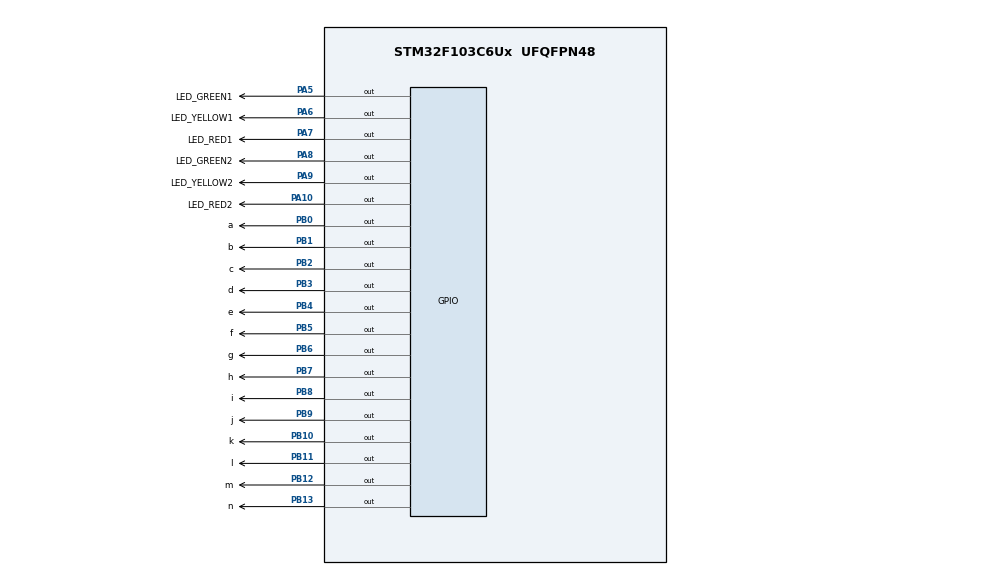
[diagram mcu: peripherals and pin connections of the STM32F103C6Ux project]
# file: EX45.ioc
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Mcu.Family=STM32F1
Mcu.Name=STM32F103C6Ux
Mcu.Package=UFQFPN48
NVIC.PriorityGroup=NVIC_PRIORITYGROUP_4
PA10.GPIO_Label=LED_RED2
PA10.Signal=GPIO_Output
PA5.GPIO_Label=LED_GREEN1
PA5.Signal=GPIO_Output
PA6.GPIO_Label=LED_YELLOW1
PA6.Signal=GPIO_Output
PA7.GPIO_Label=LED_RED1
PA7.Signal=GPIO_Output
PA8.GPIO_Label=LED_GREEN2
PA8.Signal=GPIO_Output
PA9.GPIO_Label=LED_YELLOW2
PA9.Signal=GPIO_Output
PB0.GPIO_Label=a
PB0.Signal=GPIO_Output
PB1.GPIO_Label=b
PB1.Signal=GPIO_Output
PB10.GPIO_Label=k
PB10.Signal=GPIO_Output
PB11.GPIO_Label=l
PB11.Signal=GPIO_Output
PB12.GPIO_Label=m
PB12.Signal=GPIO_Output
PB13.GPIO_Label=n
PB13.Signal=GPIO_Output
PB2.GPIO_Label=c
PB2.Signal=GPIO_Output
PB3.GPIO_Label=d
PB3.Signal=GPIO_Output
PB4.GPIO_Label=e
PB4.Signal=GPIO_Output
PB5.GPIO_Label=f
PB5.Signal=GPIO_Output
PB6.GPIO_Label=g
PB6.Signal=GPIO_Output
PB7.GPIO_Label=h
PB7.Signal=GPIO_Output
PB8.GPIO_Label=i
PB8.Signal=GPIO_Output
PB9.GPIO_Label=j
PB9.Signal=GPIO_Output
ProjectManager.HeapSize=0x200
ProjectManager.StackSize=0x400
ProjectManager.TargetToolchain=STM32CubeIDE
RCC.APB1Freq_Value=8000000
RCC.APB2Freq_Value=8000000
VP_SYS_VS_ND.Mode=No_Debug
board=custom

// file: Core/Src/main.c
/* USER CODE BEGIN Header */
/**
  ******************************************************************************
  * @file           : main.c
  * @brief          : Main program body
  ******************************************************************************
  * @attention
  *
  * <h2><center>&copy; Copyright (c) 2025 STMicroelectronics.
  * All rights reserved.</center></h2>
  *
  * This software component is licensed by ST under BSD 3-Clause license,
  * the "License"; You may not use this file except in compliance with the
  * License. You may obtain a copy of the License at:
  *                        opensource.org/licenses/BSD-3-Clause
  *
  ******************************************************************************
  */
/* USER CODE END Header */
#include "main.h"

void SystemClock_Config(void);
static void MX_GPIO_Init(void);

/* USER CODE BEGIN 0 */
void display7SEG(int num);
void display7SEG2(int num);
/* USER CODE END 0 */

int main(void)
{

  /* MCU Configuration--------------------------------------------------------*/

  /* Reset of all peripherals, Initializes the Flash interface and the Systick. */
  HAL_Init();

  /* Configure the system clock */
  SystemClock_Config();

  /* Initialize all configured peripherals */
  MX_GPIO_Init();
  /* USER CODE BEGIN 2 */
  int counter = 0;
  int counter2 = 0;
  /* USER CODE END 2 */

  /* Infinite loop */
  while (1)
  {
	  HAL_GPIO_WritePin ( LED_GREEN1_GPIO_Port , LED_GREEN1_Pin , GPIO_PIN_RESET ) ;
	  	  HAL_GPIO_WritePin ( LED_RED1_GPIO_Port , LED_RED1_Pin , GPIO_PIN_SET ) ;
	  	  HAL_GPIO_WritePin ( LED_YELLOW1_GPIO_Port , LED_YELLOW1_Pin , GPIO_PIN_SET ) ;
	  	  HAL_GPIO_WritePin ( LED_GREEN2_GPIO_Port , LED_GREEN2_Pin , GPIO_PIN_SET ) ;
	  	  HAL_GPIO_WritePin ( LED_RED2_GPIO_Port , LED_RED2_Pin , GPIO_PIN_RESET ) ;
	  	  HAL_GPIO_WritePin ( LED_YELLOW2_GPIO_Port , LED_YELLOW2_Pin , GPIO_PIN_SET ) ;
	  	  counter = 5;
	  	  counter2 = 9;
	  	  while (counter >= 0){
	  		  display7SEG( counter --) ;
	  		  display7SEG2( counter2 --) ;
	  		  HAL_Delay (1000) ;
	  	  }
	  	  HAL_GPIO_WritePin ( LED_GREEN1_GPIO_Port , LED_GREEN1_Pin , GPIO_PIN_SET ) ;
	  	  HAL_GPIO_WritePin ( LED_RED1_GPIO_Port , LED_RED1_Pin , GPIO_PIN_SET ) ;
	  	  HAL_GPIO_WritePin ( LED_YELLOW1_GPIO_Port , LED_YELLOW1_Pin , GPIO_PIN_RESET ) ;
	  	  HAL_GPIO_WritePin ( LED_GREEN2_GPIO_Port , LED_GREEN2_Pin , GPIO_PIN_SET ) ;
	  	  HAL_GPIO_WritePin ( LED_RED2_GPIO_Port , LED_RED2_Pin , GPIO_PIN_RESET ) ;
	  	  HAL_GPIO_WritePin ( LED_YELLOW2_GPIO_Port , LED_YELLOW2_Pin , GPIO_PIN_SET ) ;
	  	  counter = 3;
	  	  while (counter >= 0){
	  		  display7SEG( counter --) ;
	  		  display7SEG2( counter2 --) ;
	  		  HAL_Delay (1000) ;
	  	  }
	  	  HAL_GPIO_WritePin ( LED_GREEN1_GPIO_Port , LED_GREEN1_Pin , GPIO_PIN_SET ) ;
	  	  HAL_GPIO_WritePin ( LED_RED1_GPIO_Port , LED_RED1_Pin , GPIO_PIN_RESET ) ;
	  	  HAL_GPIO_WritePin ( LED_YELLOW1_GPIO_Port , LED_YELLOW1_Pin , GPIO_PIN_SET ) ;
	  	  HAL_GPIO_WritePin ( LED_GREEN2_GPIO_Port , LED_GREEN2_Pin , GPIO_PIN_RESET ) ;
	  	  HAL_GPIO_WritePin ( LED_RED2_GPIO_Port , LED_RED2_Pin , GPIO_PIN_SET ) ;
	  	  HAL_GPIO_WritePin ( LED_YELLOW2_GPIO_Port , LED_YELLOW2_Pin , GPIO_PIN_SET ) ;
	  	  counter = 9;
	  	  counter2 = 5;
	  	  while (counter2 >= 0){
	  		  display7SEG( counter --) ;
	  		  display7SEG2( counter2 --) ;
	  		  HAL_Delay (1000) ;
	  	  }
	  	  HAL_GPIO_WritePin ( LED_GREEN1_GPIO_Port , LED_GREEN1_Pin , GPIO_PIN_SET ) ;
	  	  HAL_GPIO_WritePin ( LED_RED1_GPIO_Port , LED_RED1_Pin , GPIO_PIN_RESET ) ;
	  	  HAL_GPIO_WritePin ( LED_YELLOW1_GPIO_Port , LED_YELLOW1_Pin , GPIO_PIN_SET ) ;
	  	  HAL_GPIO_WritePin ( LED_GREEN2_GPIO_Port , LED_GREEN2_Pin , GPIO_PIN_SET ) ;
	  	  HAL_GPIO_WritePin ( LED_RED2_GPIO_Port , LED_RED2_Pin , GPIO_PIN_SET ) ;
	  	  HAL_GPIO_WritePin ( LED_YELLOW2_GPIO_Port , LED_YELLOW2_Pin , GPIO_PIN_RESET ) ;
	  	  counter2 = 3;
	  	  while (counter >= 0){
	  		  display7SEG( counter --) ;
	  		  display7SEG2( counter2 --) ;
	  		  HAL_Delay (1000) ;
	  	  }
  }
}

void SystemClock_Config(void)
{
  RCC_OscInitTypeDef RCC_OscInitStruct = {0};
  RCC_ClkInitTypeDef RCC_ClkInitStruct = {0};

  /** Initializes the RCC Oscillators according to the specified parameters
  * in the RCC_OscInitTypeDef structure.
  */
  RCC_OscInitStruct.OscillatorType = RCC_OSCILLATORTYPE_HSI;
  RCC_OscInitStruct.HSIState = RCC_HSI_ON;
  RCC_OscInitStruct.HSICalibrationValue = RCC_HSICALIBRATION_DEFAULT;
  RCC_OscInitStruct.PLL.PLLState = RCC_PLL_NONE;
  if (HAL_RCC_OscConfig(&RCC_OscInitStruct) != HAL_OK)
  {
    Error_Handler();
  }
  /** Initializes the CPU, AHB and APB buses clocks
  */
  RCC_ClkInitStruct.ClockType = RCC_CLOCKTYPE_HCLK|RCC_CLOCKTYPE_SYSCLK
                              |RCC_CLOCKTYPE_PCLK1|RCC_CLOCKTYPE_PCLK2;
  RCC_ClkInitStruct.SYSCLKSource = RCC_SYSCLKSOURCE_HSI;
  RCC_ClkInitStruct.AHBCLKDivider = RCC_SYSCLK_DIV1;
  RCC_ClkInitStruct.APB1CLKDivider = RCC_HCLK_DIV1;
  RCC_ClkInitStruct.APB2CLKDivider = RCC_HCLK_DIV1;

  if (HAL_RCC_ClockConfig(&RCC_ClkInitStruct, FLASH_LATENCY_0) != HAL_OK)
  {
    Error_Handler();
  }
}

static void MX_GPIO_Init(void)
{
  GPIO_InitTypeDef GPIO_InitStruct = {0};

  /* GPIO Ports Clock Enable */
  __HAL_RCC_GPIOA_CLK_ENABLE();
  __HAL_RCC_GPIOB_CLK_ENABLE();

  /*Configure GPIO pin Output Level */
  HAL_GPIO_WritePin(GPIOA, LED_GREEN1_Pin|LED_YELLOW1_Pin|LED_RED1_Pin|LED_GREEN2_Pin
                          |LED_YELLOW2_Pin|LED_RED2_Pin, GPIO_PIN_RESET);

  /*Configure GPIO pin Output Level */
  HAL_GPIO_WritePin(GPIOB, a_Pin|b_Pin|c_Pin|k_Pin
                          |l_Pin|m_Pin|n_Pin|d_Pin
                          |e_Pin|f_Pin|g_Pin|h_Pin
                          |i_Pin|j_Pin, GPIO_PIN_RESET);

  /*Configure GPIO pins : LED_GREEN1_Pin LED_YELLOW1_Pin LED_RED1_Pin LED_GREEN2_Pin
                           LED_YELLOW2_Pin LED_RED2_Pin */
  GPIO_InitStruct.Pin = LED_GREEN1_Pin|LED_YELLOW1_Pin|LED_RED1_Pin|LED_GREEN2_Pin
                          |LED_YELLOW2_Pin|LED_RED2_Pin;
  GPIO_InitStruct.Mode = GPIO_MODE_OUTPUT_PP;
  GPIO_InitStruct.Pull = GPIO_NOPULL;
  GPIO_InitStruct.Speed = GPIO_SPEED_FREQ_LOW;
  HAL_GPIO_Init(GPIOA, &GPIO_InitStruct);

  /*Configure GPIO pins : a_Pin b_Pin c_Pin k_Pin
                           l_Pin m_Pin n_Pin d_Pin
                           e_Pin f_Pin g_Pin h_Pin
                           i_Pin j_Pin */
  GPIO_InitStruct.Pin = a_Pin|b_Pin|c_Pin|k_Pin
                          |l_Pin|m_Pin|n_Pin|d_Pin
                          |e_Pin|f_Pin|g_Pin|h_Pin
                          |i_Pin|j_Pin;
  GPIO_InitStruct.Mode = GPIO_MODE_OUTPUT_PP;
  GPIO_InitStruct.Pull = GPIO_NOPULL;
  GPIO_InitStruct.Speed = GPIO_SPEED_FREQ_LOW;
  HAL_GPIO_Init(GPIOB, &GPIO_InitStruct);

}

/* USER CODE BEGIN 4 */
void display7SEG(int num){
	switch(num){
		case 0:
		  HAL_GPIO_WritePin ( a_GPIO_Port , a_Pin , GPIO_PIN_RESET ) ;
		  HAL_GPIO_WritePin ( b_GPIO_Port , b_Pin , GPIO_PIN_RESET ) ;
		  HAL_GPIO_WritePin ( c_GPIO_Port , c_Pin , GPIO_PIN_RESET ) ;
		  HAL_GPIO_WritePin ( d_GPIO_Port , d_Pin , GPIO_PIN_RESET ) ;
		  HAL_GPIO_WritePin ( e_GPIO_Port , e_Pin , GPIO_PIN_RESET ) ;
		  HAL_GPIO_WritePin ( f_GPIO_Port , f_Pin , GPIO_PIN_RESET ) ;
		  HAL_GPIO_WritePin ( g_GPIO_Port , g_Pin , GPIO_PIN_SET ) ;
		  break;
		case 1:
		  HAL_GPIO_WritePin ( a_GPIO_Port , a_Pin , GPIO_PIN_SET ) ;
		  HAL_GPIO_WritePin ( b_GPIO_Port , b_Pin , GPIO_PIN_RESET ) ;
		  HAL_GPIO_WritePin ( c_GPIO_Port , c_Pin , GPIO_PIN_RESET ) ;
		  HAL_GPIO_WritePin ( d_GPIO_Port , d_Pin , GPIO_PIN_SET ) ;
		  HAL_GPIO_WritePin ( e_GPIO_Port , e_Pin , GPIO_PIN_SET ) ;
		  HAL_GPIO_WritePin ( f_GPIO_Port , f_Pin , GPIO_PIN_SET ) ;
		  HAL_GPIO_WritePin ( g_GPIO_Port , g_Pin , GPIO_PIN_SET ) ;
		  break;
		case 2:
		  HAL_GPIO_WritePin ( a_GPIO_Port , a_Pin , GPIO_PIN_RESET ) ;
		  HAL_GPIO_WritePin ( b_GPIO_Port , b_Pin , GPIO_PIN_RESET ) ;
		  HAL_GPIO_WritePin ( c_GPIO_Port , c_Pin , GPIO_PIN_SET ) ;
		  HAL_GPIO_WritePin ( d_GPIO_Port , d_Pin , GPIO_PIN_RESET ) ;
		  HAL_GPIO_WritePin ( e_GPIO_Port , e_Pin , GPIO_PIN_RESET ) ;
		  HAL_GPIO_WritePin ( f_GPIO_Port , f_Pin , GPIO_PIN_SET ) ;
		  HAL_GPIO_WritePin ( g_GPIO_Port , g_Pin , GPIO_PIN_RESET ) ;
		  break;
		case 3:
		  HAL_GPIO_WritePin ( a_GPIO_Port , a_Pin , GPIO_PIN_RESET ) ;
		  HAL_GPIO_WritePin ( b_GPIO_Port , b_Pin , GPIO_PIN_RESET ) ;
		  HAL_GPIO_WritePin ( c_GPIO_Port , c_Pin , GPIO_PIN_RESET ) ;
		  HAL_GPIO_WritePin ( d_GPIO_Port , d_Pin , GPIO_PIN_RESET ) ;
		  HAL_GPIO_WritePin ( e_GPIO_Port , e_Pin , GPIO_PIN_SET ) ;
		  HAL_GPIO_WritePin ( f_GPIO_Port , f_Pin , GPIO_PIN_SET ) ;
		  HAL_GPIO_WritePin ( g_GPIO_Port , g_Pin , GPIO_PIN_RESET ) ;
		  break;
		case 4:
		  HAL_GPIO_WritePin ( a_GPIO_Port , a_Pin , GPIO_PIN_SET ) ;
		  HAL_GPIO_WritePin ( b_GPIO_Port , b_Pin , GPIO_PIN_RESET ) ;
		  HAL_GPIO_WritePin ( c_GPIO_Port , c_Pin , GPIO_PIN_RESET ) ;
		  HAL_GPIO_WritePin ( d_GPIO_Port , d_Pin , GPIO_PIN_SET ) ;
		  HAL_GPIO_WritePin ( e_GPIO_Port , e_Pin , GPIO_PIN_SET ) ;
		  HAL_GPIO_WritePin ( f_GPIO_Port , f_Pin , GPIO_PIN_RESET ) ;
		  HAL_GPIO_WritePin ( g_GPIO_Port , g_Pin , GPIO_PIN_RESET ) ;
		  break;
		case 5:
		  HAL_GPIO_WritePin ( a_GPIO_Port , a_Pin , GPIO_PIN_RESET ) ;
		  HAL_GPIO_WritePin ( b_GPIO_Port , b_Pin , GPIO_PIN_SET ) ;
		  HAL_GPIO_WritePin ( c_GPIO_Port , c_Pin , GPIO_PIN_RESET ) ;
		  HAL_GPIO_WritePin ( d_GPIO_Port , d_Pin , GPIO_PIN_RESET ) ;
		  HAL_GPIO_WritePin ( e_GPIO_Port , e_Pin , GPIO_PIN_SET ) ;
		  HAL_GPIO_WritePin ( f_GPIO_Port , f_Pin , GPIO_PIN_RESET ) ;
		  HAL_GPIO_WritePin ( g_GPIO_Port , g_Pin , GPIO_PIN_RESET ) ;
		  break;
		case 6:
		  HAL_GPIO_WritePin ( a_GPIO_Port , a_Pin , GPIO_PIN_RESET ) ;
		  HAL_GPIO_WritePin ( b_GPIO_Port , b_Pin , GPIO_PIN_SET ) ;
		  HAL_GPIO_WritePin ( c_GPIO_Port , c_Pin , GPIO_PIN_RESET ) ;
		  HAL_GPIO_WritePin ( d_GPIO_Port , d_Pin , GPIO_PIN_RESET ) ;
		  HAL_GPIO_WritePin ( e_GPIO_Port , e_Pin , GPIO_PIN_RESET ) ;
		  HAL_GPIO_WritePin ( f_GPIO_Port , f_Pin , GPIO_PIN_RESET ) ;
		  HAL_GPIO_WritePin ( g_GPIO_Port , g_Pin , GPIO_PIN_RESET ) ;
		  break;
		case 7:
		  HAL_GPIO_WritePin ( a_GPIO_Port , a_Pin , GPIO_PIN_RESET ) ;
		  HAL_GPIO_WritePin ( b_GPIO_Port , b_Pin , GPIO_PIN_RESET ) ;
		  HAL_GPIO_WritePin ( c_GPIO_Port , c_Pin , GPIO_PIN_RESET ) ;
		  HAL_GPIO_WritePin ( d_GPIO_Port , d_Pin , GPIO_PIN_SET ) ;
		  HAL_GPIO_WritePin ( e_GPIO_Port , e_Pin , GPIO_PIN_SET ) ;
		  HAL_GPIO_WritePin ( f_GPIO_Port , f_Pin , GPIO_PIN_SET ) ;
		  HAL_GPIO_WritePin ( g_GPIO_Port , g_Pin , GPIO_PIN_SET ) ;
		  break;
		case 8:
		  HAL_GPIO_WritePin ( a_GPIO_Port , a_Pin , GPIO_PIN_RESET ) ;
		  HAL_GPIO_WritePin ( b_GPIO_Port , b_Pin , GPIO_PIN_RESET ) ;
		  HAL_GPIO_WritePin ( c_GPIO_Port , c_Pin , GPIO_PIN_RESET ) ;
		  HAL_GPIO_WritePin ( d_GPIO_Port , d_Pin , GPIO_PIN_RESET ) ;
		  HAL_GPIO_WritePin ( e_GPIO_Port , e_Pin , GPIO_PIN_RESET ) ;
		  HAL_GPIO_WritePin ( f_GPIO_Port , f_Pin , GPIO_PIN_RESET ) ;
		  HAL_GPIO_WritePin ( g_GPIO_Port , g_Pin , GPIO_PIN_RESET ) ;
		  break;
		case 9:
		  HAL_GPIO_WritePin ( a_GPIO_Port , a_Pin , GPIO_PIN_RESET ) ;
		  HAL_GPIO_WritePin ( b_GPIO_Port , b_Pin , GPIO_PIN_RESET ) ;
		  HAL_GPIO_WritePin ( c_GPIO_Port , c_Pin , GPIO_PIN_RESET ) ;
		  HAL_GPIO_WritePin ( d_GPIO_Port , d_Pin , GPIO_PIN_RESET ) ;
		  HAL_GPIO_WritePin ( e_GPIO_Port , e_Pin , GPIO_PIN_SET ) ;
		  HAL_GPIO_WritePin ( f_GPIO_Port , f_Pin , GPIO_PIN_RESET ) ;
		  HAL_GPIO_WritePin ( g_GPIO_Port , g_Pin , GPIO_PIN_RESET ) ;
		  break;
		default:
		  HAL_GPIO_WritePin ( a_GPIO_Port , a_Pin , GPIO_PIN_SET ) ;
		  HAL_GPIO_WritePin ( b_GPIO_Port , b_Pin , GPIO_PIN_SET ) ;
		  HAL_GPIO_WritePin ( c_GPIO_Port , c_Pin , GPIO_PIN_SET ) ;
		  HAL_GPIO_WritePin ( d_GPIO_Port , d_Pin , GPIO_PIN_SET ) ;
		  HAL_GPIO_WritePin ( e_GPIO_Port , e_Pin , GPIO_PIN_SET ) ;
		  HAL_GPIO_WritePin ( f_GPIO_Port , f_Pin , GPIO_PIN_SET ) ;
		  HAL_GPIO_WritePin ( g_GPIO_Port , g_Pin , GPIO_PIN_SET ) ;
		  break;
	}
}
void display7SEG2(int num){
	switch(num){
		case 0:
		  HAL_GPIO_WritePin ( h_GPIO_Port , h_Pin , GPIO_PIN_RESET ) ;
		  HAL_GPIO_WritePin ( i_GPIO_Port , i_Pin , GPIO_PIN_RESET ) ;
		  HAL_GPIO_WritePin ( j_GPIO_Port , j_Pin , GPIO_PIN_RESET ) ;
		  HAL_GPIO_WritePin ( k_GPIO_Port , k_Pin , GPIO_PIN_RESET ) ;
		  HAL_GPIO_WritePin ( l_GPIO_Port , l_Pin , GPIO_PIN_RESET ) ;
		  HAL_GPIO_WritePin ( m_GPIO_Port , m_Pin , GPIO_PIN_RESET ) ;
		  HAL_GPIO_WritePin ( n_GPIO_Port , n_Pin , GPIO_PIN_SET ) ;
		  break;
		case 1:
		  HAL_GPIO_WritePin ( h_GPIO_Port , h_Pin , GPIO_PIN_SET ) ;
		  HAL_GPIO_WritePin ( i_GPIO_Port , i_Pin , GPIO_PIN_RESET ) ;
		  HAL_GPIO_WritePin ( j_GPIO_Port , j_Pin , GPIO_PIN_RESET ) ;
		  HAL_GPIO_WritePin ( k_GPIO_Port , k_Pin , GPIO_PIN_SET ) ;
		  HAL_GPIO_WritePin ( l_GPIO_Port , l_Pin , GPIO_PIN_SET ) ;
		  HAL_GPIO_WritePin ( m_GPIO_Port , m_Pin , GPIO_PIN_SET ) ;
		  HAL_GPIO_WritePin ( n_GPIO_Port , n_Pin , GPIO_PIN_SET ) ;
		  break;
		case 2:
		  HAL_GPIO_WritePin ( h_GPIO_Port , h_Pin , GPIO_PIN_RESET ) ;
		  HAL_GPIO_WritePin ( i_GPIO_Port , i_Pin , GPIO_PIN_RESET ) ;
		  HAL_GPIO_WritePin ( j_GPIO_Port , j_Pin , GPIO_PIN_SET ) ;
		  HAL_GPIO_WritePin ( k_GPIO_Port , k_Pin , GPIO_PIN_RESET ) ;
		  HAL_GPIO_WritePin ( l_GPIO_Port , l_Pin , GPIO_PIN_RESET ) ;
		  HAL_GPIO_WritePin ( m_GPIO_Port , m_Pin , GPIO_PIN_SET ) ;
		  HAL_GPIO_WritePin ( n_GPIO_Port , n_Pin , GPIO_PIN_RESET ) ;
		  break;
		case 3:
		  HAL_GPIO_WritePin ( h_GPIO_Port , h_Pin , GPIO_PIN_RESET ) ;
		  HAL_GPIO_WritePin ( i_GPIO_Port , i_Pin , GPIO_PIN_RESET ) ;
		  HAL_GPIO_WritePin ( j_GPIO_Port , j_Pin , GPIO_PIN_RESET ) ;
		  HAL_GPIO_WritePin ( k_GPIO_Port , k_Pin , GPIO_PIN_RESET ) ;
		  HAL_GPIO_WritePin ( l_GPIO_Port , l_Pin , GPIO_PIN_SET ) ;
		  HAL_GPIO_WritePin ( m_GPIO_Port , m_Pin , GPIO_PIN_SET ) ;
		  HAL_GPIO_WritePin ( n_GPIO_Port , n_Pin , GPIO_PIN_RESET ) ;
		  break;
		case 4:
		  HAL_GPIO_WritePin ( h_GPIO_Port , h_Pin , GPIO_PIN_SET ) ;
		  HAL_GPIO_WritePin ( i_GPIO_Port , i_Pin , GPIO_PIN_RESET ) ;
		  HAL_GPIO_WritePin ( j_GPIO_Port , j_Pin , GPIO_PIN_RESET ) ;
		  HAL_GPIO_WritePin ( k_GPIO_Port , k_Pin , GPIO_PIN_SET ) ;
		  HAL_GPIO_WritePin ( l_GPIO_Port , l_Pin , GPIO_PIN_SET ) ;
		  HAL_GPIO_WritePin ( m_GPIO_Port , m_Pin , GPIO_PIN_RESET ) ;
		  HAL_GPIO_WritePin ( n_GPIO_Port , n_Pin , GPIO_PIN_RESET ) ;
		  break;
		case 5:
		  HAL_GPIO_WritePin ( h_GPIO_Port , h_Pin , GPIO_PIN_RESET ) ;
		  HAL_GPIO_WritePin ( i_GPIO_Port , i_Pin , GPIO_PIN_SET ) ;
		  HAL_GPIO_WritePin ( j_GPIO_Port , j_Pin , GPIO_PIN_RESET ) ;
		  HAL_GPIO_WritePin ( k_GPIO_Port , k_Pin , GPIO_PIN_RESET ) ;
		  HAL_GPIO_WritePin ( l_GPIO_Port , l_Pin , GPIO_PIN_SET ) ;
		  HAL_GPIO_WritePin ( m_GPIO_Port , m_Pin , GPIO_PIN_RESET ) ;
		  HAL_GPIO_WritePin ( n_GPIO_Port , n_Pin , GPIO_PIN_RESET ) ;
		  break;
		case 6:
		  HAL_GPIO_WritePin ( h_GPIO_Port , h_Pin , GPIO_PIN_RESET ) ;
		  HAL_GPIO_WritePin ( i_GPIO_Port , i_Pin , GPIO_PIN_SET ) ;
		  HAL_GPIO_WritePin ( j_GPIO_Port , j_Pin , GPIO_PIN_RESET ) ;
		  HAL_GPIO_WritePin ( k_GPIO_Port , k_Pin , GPIO_PIN_RESET ) ;
		  HAL_GPIO_WritePin ( l_GPIO_Port , l_Pin , GPIO_PIN_RESET ) ;
		  HAL_GPIO_WritePin ( m_GPIO_Port , m_Pin , GPIO_PIN_RESET ) ;
		  HAL_GPIO_WritePin ( n_GPIO_Port , n_Pin , GPIO_PIN_RESET ) ;
		  break;
		case 7:
		  HAL_GPIO_WritePin ( h_GPIO_Port , h_Pin , GPIO_PIN_RESET ) ;
		  HAL_GPIO_WritePin ( i_GPIO_Port , i_Pin , GPIO_PIN_RESET ) ;
		  HAL_GPIO_WritePin ( j_GPIO_Port , j_Pin , GPIO_PIN_RESET ) ;
		  HAL_GPIO_WritePin ( k_GPIO_Port , k_Pin , GPIO_PIN_SET ) ;
		  HAL_GPIO_WritePin ( l_GPIO_Port , l_Pin , GPIO_PIN_SET ) ;
		  HAL_GPIO_WritePin ( m_GPIO_Port , m_Pin , GPIO_PIN_SET ) ;
		  HAL_GPIO_WritePin ( n_GPIO_Port , n_Pin , GPIO_PIN_SET ) ;
		  break;
		case 8:
		  HAL_GPIO_WritePin ( h_GPIO_Port , h_Pin , GPIO_PIN_RESET ) ;
		  HAL_GPIO_WritePin ( i_GPIO_Port , i_Pin , GPIO_PIN_RESET ) ;
		  HAL_GPIO_WritePin ( j_GPIO_Port , j_Pin , GPIO_PIN_RESET ) ;
		  HAL_GPIO_WritePin ( k_GPIO_Port , k_Pin , GPIO_PIN_RESET ) ;
		  HAL_GPIO_WritePin ( l_GPIO_Port , l_Pin , GPIO_PIN_RESET ) ;
		  HAL_GPIO_WritePin ( m_GPIO_Port , m_Pin , GPIO_PIN_RESET ) ;
		  HAL_GPIO_WritePin ( n_GPIO_Port , n_Pin , GPIO_PIN_RESET ) ;
		  break;
		case 9:
		  HAL_GPIO_WritePin ( h_GPIO_Port , h_Pin , GPIO_PIN_RESET ) ;
		  HAL_GPIO_WritePin ( i_GPIO_Port , i_Pin , GPIO_PIN_RESET ) ;
		  HAL_GPIO_WritePin ( j_GPIO_Port , j_Pin , GPIO_PIN_RESET ) ;
		  HAL_GPIO_WritePin ( k_GPIO_Port , k_Pin , GPIO_PIN_RESET ) ;
		  HAL_GPIO_WritePin ( l_GPIO_Port , l_Pin , GPIO_PIN_SET ) ;
		  HAL_GPIO_WritePin ( m_GPIO_Port , m_Pin , GPIO_PIN_RESET ) ;
		  HAL_GPIO_WritePin ( n_GPIO_Port , n_Pin , GPIO_PIN_RESET ) ;
		  break;
		default:
		  HAL_GPIO_WritePin ( h_GPIO_Port , h_Pin , GPIO_PIN_SET ) ;
		  HAL_GPIO_WritePin ( i_GPIO_Port , i_Pin , GPIO_PIN_SET ) ;
		  HAL_GPIO_WritePin ( j_GPIO_Port , j_Pin , GPIO_PIN_SET ) ;
		  HAL_GPIO_WritePin ( k_GPIO_Port , k_Pin , GPIO_PIN_SET ) ;
		  HAL_GPIO_WritePin ( l_GPIO_Port , l_Pin , GPIO_PIN_SET ) ;
		  HAL_GPIO_WritePin ( m_GPIO_Port , m_Pin , GPIO_PIN_SET ) ;
		  HAL_GPIO_WritePin ( n_GPIO_Port , n_Pin , GPIO_PIN_SET ) ;
		  break;
	}
}
/* USER CODE END 4 */

void Error_Handler(void)
{
  __disable_irq();
  while (1)
  {
  }
}

/************************ (C) COPYRIGHT STMicroelectronics *****END OF FILE****/
